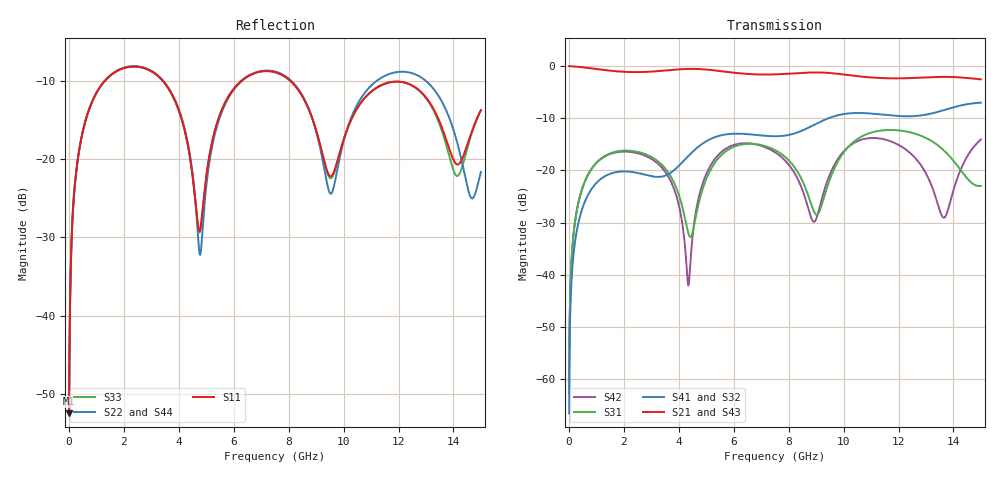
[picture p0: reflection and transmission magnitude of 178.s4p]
! Created with skrf 1.8.0 (http://scikit-rf.org).
# GHz S RI R 50.0
!freq ReS11 ImS11 ReS12 ImS12 ReS13 ImS13
! ReS14 ImS14
! ReS21 ImS21 ReS22 ImS22 ReS23 ImS23
! ReS24 ImS24
! ReS31 ImS31 ReS32 ImS32 ReS33 ImS33
! ReS34 ImS34
! ReS41 ImS41 ReS42 ImS42 ReS43 ImS43
! ReS44 ImS44
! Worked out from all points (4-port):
!   2499 points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, 5 MHz to 15 GHz, reference 50 ohm
!   strongest paths, dB at 5 MHz, 3.476 GHz, 7.19 GHz, 11.1 GHz, 15 GHz:
!     S21: 0.0, -0.9, -1.6, -2.2, -2.5
!     S43: 0.0, -0.9, -1.6, -2.2, -2.6
!     S41: -66.5, -21.0, -13.4, -9.1, -7.0
!     S32: -66.5, -21.1, -13.4, -9.2, -7.0
!     S31: -62.6, -19.4, -15.4, -12.6, -23.0
!     S42: -62.6, -20.1, -15.6, -13.8, -14.1
!   lowest |S11| = -52.5 dB at 5 MHz (marker M1), VSWR 1.00, Z = 50.2 + j0.144 ohm
!   |S11| at or under -10 dB: start of sweep to 1.292 GHz; 3.429 GHz to 6.265 GHz (2.836 GHz wide, 58.5 % of centre); 8.075 GHz to end of sweep
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0.005  0.00188 0.00143  0.9981 -0.00366  9.5e-05 0.000734  -9.22e-05 -0.000463
       0.9981 -0.00366  0.00188 0.00143  -9.22e-05 -0.000463  9.48e-05 0.000734
       9.5e-05 0.000734  -9.22e-05 -0.000463  0.00188 0.00143  0.9981 -0.00366
       -9.22e-05 -0.000463  9.48e-05 0.000734  0.9981 -0.00366  0.00188 0.00143
0.3126303  0.0303 0.0929  0.9584 -0.2265  0.0143 0.0427  -0.0117 -0.0265
           0.9584 -0.2265  0.0304 0.0929  -0.0116 -0.0265  0.0137 0.0429
           0.0143 0.0427  -0.0116 -0.0265  0.0303 0.0929  0.9584 -0.2265
           -0.0117 -0.0265  0.0137 0.0429  0.9584 -0.2265  0.0304 0.0929
1.469362  0.2959 0.1675  0.4898 -0.7615  0.1368 0.0474  -0.0923 0.00353
          0.4898 -0.7615  0.298 0.1658  -0.0921 0.00332  0.1315 0.0558
          0.1368 0.0474  -0.0921 0.00332  0.296 0.1674  0.4899 -0.7614
          -0.0923 0.00353  0.1315 0.0558  0.4899 -0.7614  0.2978 0.1659
4.345561  0.0622 -0.1018  -0.879 -0.3304  -0.0218 -0.0124  -0.0427 0.1307
          -0.879 -0.3304  0.0539 -0.1101  -0.0452 0.1299  0.00787 0.000961
          -0.0218 -0.0124  -0.0452 0.1299  0.0614 -0.1016  -0.8791 -0.3304
          -0.0427 0.1307  0.00787 0.000961  -0.8791 -0.3304  0.0543 -0.1094
7.146728  0.3672 0.01  -0.1124 0.8223  0.1551 -0.0722  0.211 -0.0413
          -0.1124 0.8223  0.3701 0.0084  0.2101 -0.0352  0.1551 -0.062
          0.1551 -0.0722  0.2101 -0.0352  0.3686 0.00875  -0.1129 0.8221
          0.211 -0.0413  0.1551 -0.062  -0.1129 0.8221  0.3692 0.0101
9.822843  0.0933 0.0476  0.841 -0.0337  0.0492 0.1161  -0.0384 -0.3373
          0.841 -0.0337  0.077 0.0558  -0.0266 -0.3383  0.0354 0.1277
          0.0492 0.1161  -0.0266 -0.3383  0.0916 0.0482  0.8412 -0.0321
          -0.0384 -0.3373  0.0354 0.1277  0.8412 -0.0321  0.0784 0.0529
15  0.1611 0.1286  -0.7328 0.1393  -0.00236 0.071  0.1198 0.4299
    -0.7328 0.1393  0.0721 0.0411  0.094 0.4359  0.1843 0.0728
    -0.00236 0.071  0.094 0.4359  0.1518 0.1409  -0.7326 0.1382
    0.1198 0.4299  0.1843 0.0728  -0.7326 0.1382  0.0775 0.0439
